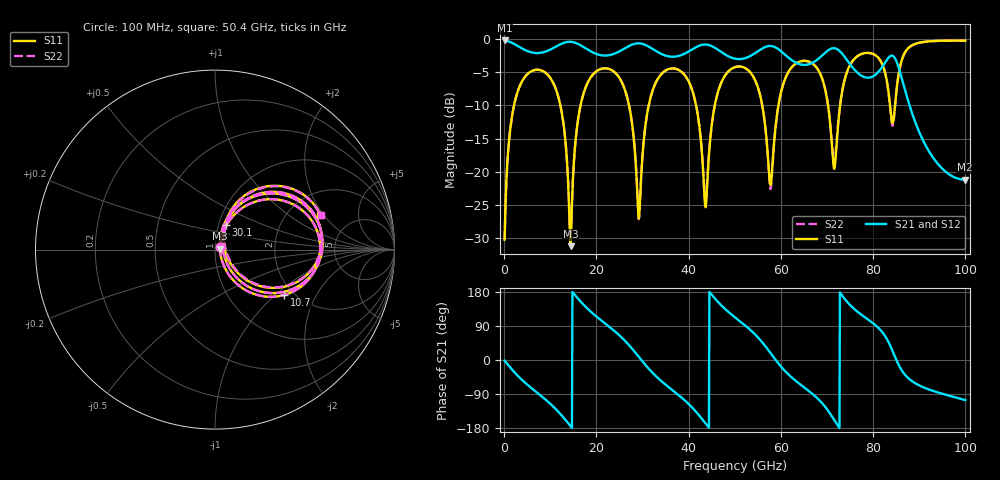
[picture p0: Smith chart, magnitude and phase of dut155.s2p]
! Touchstone file exported from HFSS 2026.1.0
!  File:  C:/ffzhzh/LocalFiles/Ansys_Project_Files/temp_test_TSV_RDL_155_1783464584_41684.aedt
!  Generated:  07:01:48 AM Jul  8, 2026
!  Design:  TSV_RDL
!  Project:  temp_test_TSV_RDL_155_1783464584_41684
! Variables:
!  h_bsmrdl = 2.24um
!  h_ox = 20um
!  h_rdl = 5um
!  h_sub = 77.72um
!  h_tmrdl = 4.67um
!  h_tsv = 77.72um
!  h_via = 3um
!  l_bsmrdl = 527.19um
!  l_sub = 3968.12um
!  l_tmrdl = 473.47um
!  m_sub = 200um
!  pitch = 50.39um
!  r_tsv = 10.88um
!  s_tmrdl = 10um
!  w_bsmrdl = 17.09um
!  w_sub = 500um
!  w_tmrdl = 13.8um
!  x_tsv_center1 = 480.37um
!  x_tsv_center2 = 1024.65um
!  x_tsv_center3 = 1511.92um
!  x_tsv_center4 = 2056.2um
!  x_tsv_center5 = 2543.47um
!  x_tsv_center6 = 3087.75um
# GHz S MA R 50.000000
! Terminal data exported
! Port[1] = TM_RDL1_1_T1
! Port[2] = TM_RDL5_1_T1
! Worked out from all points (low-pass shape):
!   1000 points, 100 MHz to 100 GHz, reference 50 ohm
!   highest |S21| = -0.23 dB at 100 MHz (marker M1); lowest = -21.2 dB at 99.9 GHz (marker M2)
!   |S21| within 3 dB of the highest: start of sweep to 62.42 GHz; 67.69 GHz to 74.38 GHz (6.687 GHz wide, 9.41 % of centre) (the widest 2 of 3)
!   lowest |S11| = -31.2 dB at 14.4 GHz (marker M3), VSWR 1.06, Z = 52.8 + j0.577 ohm
!   |S11| at or under -10 dB: 12.19 GHz to 16.56 GHz (4.377 GHz wide, 30.4 % of centre); 27.08 GHz to 31.34 GHz (4.268 GHz wide, 14.6 % of centre); 41.61 GHz to 45.67 GHz (4.061 GHz wide, 9.3 % of centre) (the widest 3 of 7)
!   |S22| runs from -31.2 to -0.2 dB; largest |S21 - S12| = 2.7e-12
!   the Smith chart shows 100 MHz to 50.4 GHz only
!   S11 on the Smith chart (normalised r, x): 100 MHz: 1.05, +0.03; 10.7 GHz: 1.79, -1.15; 30.1 GHz: 1.08, +0.30; 50.4 GHz: 2.96, +1.86
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0.1  0.03075 32.3  0.9743 -1.6  0.9743 -1.6  0.03075 32.3
! Gamma 0 0 0 0
! Port Impedance 50 0 50 0
3.1  0.4169 42.4  0.8786 -43.5  0.8786 -43.5  0.4169 42.4
10.7  0.4619 -33.2  0.8553 -123.5  0.8553 -123.5  0.4619 -33.2
14.4  0.02746 11.5  0.952 -174.4  0.952 -174.4  0.02753 11.4
16.8  0.3439 56.1  0.8866 151.3  0.8866 151.3  0.3438 56.1
25  0.5081 -23.5  0.8067 64.9  0.8067 64.9  0.508 -23.5
29.1  0.04749 -12.4  0.9271 9.7  0.9271 9.7  0.04694 -12.6
30.1  0.1475 66.5  0.9154 -5.3  0.9154 -5.3  0.1473 66.8
33.4  0.5059 37.9  0.7929 -48.3  0.7929 -48.3  0.5058 38.1
40.3  0.4546 -26.3  0.816 -119.7  0.816 -119.7  0.4547 -25.8
43.7  0.05395 18.7  0.9082 -167.9  0.9082 -167.9  0.05863 18.3
46  0.3571 60.2  0.8446 158.1  0.8446 158.1  0.3579 59.5
50.1  0.6142 20.9  0.7098 112.0  0.7098 112.0  0.6143 20.5
50.4  0.6179 18.3  0.707 109.1  0.707 109.1  0.618 18.0
58.4  0.1464 64.2  0.8765 7.7  0.8765 7.7  0.1436 66.2
66.7  0.6581 3.4  0.6572 -88.0  0.6572 -88.0  0.6585 4.1
72.5  0.247 68.5  0.8245 -176.0  0.8245 -176.0  0.2521 66.2
79  0.7848 16.3  0.5109 106.0  0.5109 106.0  0.785 15.8
83.4  0.381 -14.5  0.7268 45.8  0.7268 45.8  0.3768 -15.8
86.6  0.7542 41.0  0.4507 -34.3  0.4507 -34.3  0.7525 41.4
99.9  0.9706 -16.2  0.08705 -105.5  0.08705 -105.5  0.9704 -16.0
100  0.9705 -16.4  0.08706 -105.9  0.08706 -105.9  0.9703 -16.3
